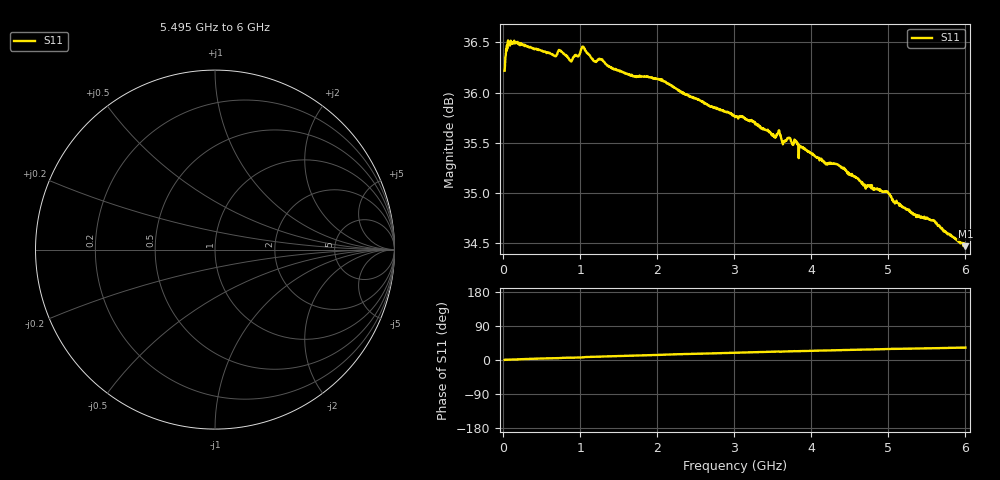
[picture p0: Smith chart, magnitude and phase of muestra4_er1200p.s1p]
! NanoVNA-UTN-Toolkit permittivity export -- NOT S-parameters
! ES: Permitividad relativa compleja de la muestra. NO es S11: se guarda en
! ES: formato Touchstone solo para poder graficarla con visores de .s1p.
! EN: Complex relative permittivity of the sample. NOT S11: the Touchstone
! EN: format is used only so that .s1p viewers can plot it.
! Columns / Columnas: f (Hz) | eps' | eps'' (loss >= 0); eps_r = eps' - j*eps''
! Sample / Muestra: muestra4
! Technique / Tecnica: Open-ended coaxial probe (liquids)
! References / Referencias: water + ipa
! Probe / Sonda: 3 mm probe (C0 0.019 pF)
! Temperature / Temperatura: 23.0 °C
! Reliable from 45 MHz: points below are not reliable / Confiable desde 45 MHz: los puntos inferiores no son confiables
! Spike removal replaced 1 isolated S11 point(s) before solving / La remocion de picos reemplazo 1 punto(s) aislado(s) de S11
! 2 point(s) without a solution omitted / 2 punto(s) sin solucion omitidos
! Exported / Exportado: 2026-10-24T12:11:32
# Hz S RI R 50
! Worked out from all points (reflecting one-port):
!   1198 points, 15 MHz to 6 GHz, reference 50 ohm
!   lowest |S11| = 34.5 dB at 6 GHz (marker M1)
!   phase of S11 starts at 0 deg and turns +32 deg over the sweep
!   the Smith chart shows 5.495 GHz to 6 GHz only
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1.5e7  64.69 0.436
5.5e7  66.81 0.7802
1.15e8  66.83 1.367
4.55e8  66.1 4.236
6.6e8  65.59 5.486
7e8  65.74 5.451
7.65e8  65.75 6.45
8.75e8  65.05 6.98
9.95e8  65.58 7.506
1.035e9  65.96 8.419
1.085e9  65.37 9.129
1.17e9  64.74 9.653
1.26e9  64.77 10.15
1.515e9  63.61 11.83
2.01e9  62.37 14.78
2.26e9  61.09 16.62
3.01e9  57.99 20.01
3.24e9  57.26 21.12
3.495e9  55.87 22.23
3.555e9  55.64 22.74
3.61e9  55.48 22.39
3.675e9  55.04 23.11
3.76e9  54.68 23.23
4.505e9  51.34 25.68
5.02e9  49.01 27.32
5.255e9  47.77 27.53
5.6e9  46.6 28.18
6e9  44.53 28.56
